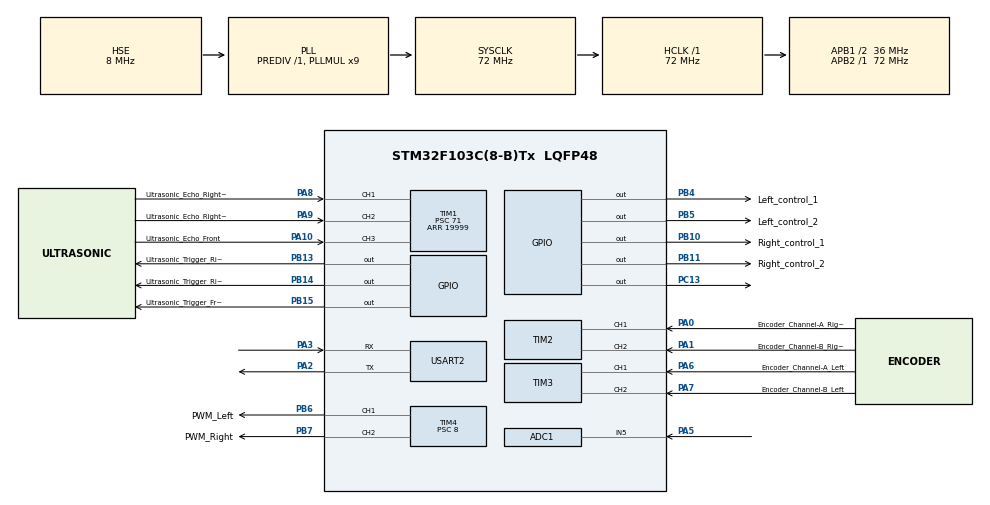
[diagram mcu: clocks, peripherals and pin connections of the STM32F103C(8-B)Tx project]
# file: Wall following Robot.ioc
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ADC1.Channel-0\#ChannelRegularConversion=ADC_CHANNEL_5
ADC1.NbrOfConversionFlag=1
ADC1.Rank-0\#ChannelRegularConversion=1
ADC1.SamplingTime-0\#ChannelRegularConversion=ADC_SAMPLETIME_1CYCLE_5
ADC1.master=1
Dma.MEMTOMEM.1.Direction=DMA_MEMORY_TO_MEMORY
Dma.MEMTOMEM.1.Instance=DMA1_Channel1
Dma.MEMTOMEM.1.MemDataAlignment=DMA_MDATAALIGN_HALFWORD
Dma.MEMTOMEM.1.MemInc=DMA_MINC_ENABLE
Dma.MEMTOMEM.1.Mode=DMA_NORMAL
Dma.MEMTOMEM.1.PeriphDataAlignment=DMA_PDATAALIGN_HALFWORD
Dma.MEMTOMEM.1.PeriphInc=DMA_PINC_ENABLE
Dma.MEMTOMEM.1.Priority=DMA_PRIORITY_LOW
Dma.Request0=USART2_TX
Dma.Request1=MEMTOMEM
Dma.USART2_TX.0.Direction=DMA_MEMORY_TO_PERIPH
Dma.USART2_TX.0.Instance=DMA1_Channel7
Dma.USART2_TX.0.MemDataAlignment=DMA_MDATAALIGN_WORD
Dma.USART2_TX.0.MemInc=DMA_MINC_ENABLE
Dma.USART2_TX.0.Mode=DMA_NORMAL
Dma.USART2_TX.0.PeriphDataAlignment=DMA_PDATAALIGN_WORD
Dma.USART2_TX.0.PeriphInc=DMA_PINC_DISABLE
Dma.USART2_TX.0.Priority=DMA_PRIORITY_LOW
IWDG.Prescaler=IWDG_PRESCALER_256
IWDG.Reload=150
Mcu.Family=STM32F1
Mcu.Name=STM32F103C(8-B)Tx
Mcu.Package=LQFP48
NVIC.DMA1_Channel7_IRQn=true\:0\:0\:false\:false\:true\:false\:true\:true
NVIC.PriorityGroup=NVIC_PRIORITYGROUP_4
NVIC.TIM1_CC_IRQn=true\:1\:0\:true\:false\:true\:true\:true\:true
NVIC.TIM1_UP_IRQn=true\:0\:0\:true\:false\:true\:true\:true\:true
NVIC.TIM2_IRQn=true\:1\:0\:true\:false\:true\:true\:true\:true
NVIC.TIM3_IRQn=true\:1\:0\:true\:false\:true\:true\:true\:true
PA0-WKUP.GPIO_Label=Encoder_Channel-A_Right
PA0-WKUP.GPIO_PuPd=GPIO_PULLUP
PA0-WKUP.Signal=S_TIM2_CH1_ETR
PA1.GPIO_Label=Encoder_Channel-B_Right
PA1.GPIO_PuPd=GPIO_PULLUP
PA1.Signal=S_TIM2_CH2
PA10.GPIO_Label=Ultrasonic_Echo_Front
PA10.Signal=S_TIM1_CH3
PA13.Mode=Serial_Wire
PA13.Signal=SYS_JTMS-SWDIO
PA14.Mode=Serial_Wire
PA14.Signal=SYS_JTCK-SWCLK
PA2.Mode=Asynchronous
PA2.Signal=USART2_TX
PA3.Mode=Asynchronous
PA3.Signal=USART2_RX
PA5.Signal=ADCx_IN5
PA6.GPIO_Label=Encoder_Channel-A_Left
PA6.GPIO_PuPd=GPIO_PULLUP
PA6.Signal=S_TIM3_CH1
PA7.GPIO_Label=Encoder_Channel-B_Left
PA7.GPIO_PuPd=GPIO_PULLUP
PA7.Signal=S_TIM3_CH2
PA8.GPIO_Label=Ultrasonic_Echo_RightBack
PA8.Signal=S_TIM1_CH1
PA9.GPIO_Label=Ultrasonic_Echo_RightFront
PA9.Signal=S_TIM1_CH2
PB10.GPIO_Label=Right_control_1
PB10.Signal=GPIO_Output
PB11.GPIO_Label=Right_control_2
PB11.Signal=GPIO_Output
PB13.GPIO_Label=Ultrasonic_Trigger_RightBack
PB13.Signal=GPIO_Output
PB14.GPIO_Label=Ultrasonic_Trigger_RightFront
PB14.Signal=GPIO_Output
PB15.GPIO_Label=Ultrasonic_Trigger_Front
PB15.Signal=GPIO_Output
PB4.GPIO_Label=Left_control_1
PB4.Signal=GPIO_Output
PB5.GPIO_Label=Left_control_2
PB5.Signal=GPIO_Output
PB6.GPIO_Label=PWM_Left
PB6.Signal=S_TIM4_CH1
PB7.GPIO_Label=PWM_Right
PB7.Signal=S_TIM4_CH2
PC13-TAMPER-RTC.GPIO_Speed=GPIO_SPEED_FREQ_HIGH
PC13-TAMPER-RTC.PinState=GPIO_PIN_SET
PC13-TAMPER-RTC.Signal=GPIO_Output
PD0-OSC_IN.Mode=HSE-External-Oscillator
PD0-OSC_IN.Signal=RCC_OSC_IN
PD1-OSC_OUT.Mode=HSE-External-Oscillator
PD1-OSC_OUT.Signal=RCC_OSC_OUT
ProjectManager.HeapSize=0x200
ProjectManager.StackSize=0x400
ProjectManager.TargetToolchain=MDK-ARM V5.32
RCC.ADCPresc=RCC_ADCPCLK2_DIV6
RCC.AHBFreq_Value=72000000
RCC.APB1CLKDivider=RCC_HCLK_DIV2
RCC.APB1Freq_Value=36000000
RCC.APB1TimFreq_Value=72000000
RCC.APB2Freq_Value=72000000
RCC.APB2TimFreq_Value=72000000
RCC.HCLKFreq_Value=72000000
RCC.PLLMUL=RCC_PLL_MUL9
RCC.PLLSourceVirtual=RCC_PLLSOURCE_HSE
RCC.SYSCLKFreq_VALUE=72000000
RCC.SYSCLKSource=RCC_SYSCLKSOURCE_PLLCLK
RCC.USBFreq_Value=72000000
SH.ADCx_IN5.0=ADC1_IN5,IN5
SH.S_TIM1_CH1.0=TIM1_CH1,Input_Capture1_from_TI1
SH.S_TIM1_CH2.0=TIM1_CH2,Input_Capture2_from_TI2
SH.S_TIM1_CH3.0=TIM1_CH3,Input_Capture3_from_TI3
SH.S_TIM2_CH1_ETR.0=TIM2_CH1,Encoder_Interface
SH.S_TIM2_CH2.0=TIM2_CH2,Encoder_Interface
SH.S_TIM3_CH1.0=TIM3_CH1,Encoder_Interface
SH.S_TIM3_CH2.0=TIM3_CH2,Encoder_Interface
SH.S_TIM4_CH1.0=TIM4_CH1,PWM Generation1 CH1
SH.S_TIM4_CH2.0=TIM4_CH2,PWM Generation2 CH2
TIM1.Channel-Input_Capture1_from_TI1=TIM_CHANNEL_1
TIM1.Channel-Input_Capture2_from_TI2=TIM_CHANNEL_2
TIM1.Channel-Input_Capture3_from_TI3=TIM_CHANNEL_3
TIM1.Period=19999
TIM1.Prescaler=71
TIM2.EncoderMode=TIM_ENCODERMODE_TI12
TIM3.EncoderMode=TIM_ENCODERMODE_TI12
TIM4.Channel-PWM\ Generation1\ CH1=TIM_CHANNEL_1
TIM4.Channel-PWM\ Generation2\ CH2=TIM_CHANNEL_2
TIM4.Period=399
TIM4.Prescaler=8
USART2.VirtualMode=VM_ASYNC
VP_IWDG_VS_IWDG.Mode=IWDG_Activate
board=custom

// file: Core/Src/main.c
/* USER CODE BEGIN Header */
/**
  ******************************************************************************
  * @file           : main.c
  * @brief          : Main program body
  ******************************************************************************
  * @attention
  *
  * Copyright (c) 2024 STMicroelectronics.
  * All rights reserved.
  *
  * This software is licensed under terms that can be found in the LICENSE file
  * in the root directory of this software component.
  * If no LICENSE file comes with this software, it is provided AS-IS.
  *
  ******************************************************************************
  */
/* USER CODE END Header */
#include "main.h"

/* USER CODE BEGIN Includes */
#include "encoder.h"
#include "takesample.h"
#include "exfunction.h"
#include "ultrasonic.h"
#include "pid.h"
#include "pwm.h"
#include "controlmotor.h"
#include "testprogram00.h"

#include <math.h>
#include <stdint.h>
#include <string.h>
/* USER CODE END Includes */

ADC_HandleTypeDef hadc1;

IWDG_HandleTypeDef hiwdg;

TIM_HandleTypeDef htim1;
TIM_HandleTypeDef htim2;
TIM_HandleTypeDef htim3;
TIM_HandleTypeDef htim4;

UART_HandleTypeDef huart2;
DMA_HandleTypeDef hdma_usart2_tx;

DMA_HandleTypeDef hdma_memtomem_dma1_channel1;
/* USER CODE BEGIN PV */

// General Flag/Variable
volatile uint8_t Sample_flag = 0;
volatile uint8_t Sample_enc_flag = 0;

volatile const float Sample_time_ms = 20;
float const PI = 3.14159265359;
uint16_t test = 0;
// ---------------------------------------------------------------------------------

// Ultrasonic Variable
uint32_t InCapFR_01 = 0;
uint32_t InCapFR_02 = 0;
uint32_t InCapRFR_01 = 0;
uint32_t InCapRFR_02 = 0;
uint32_t InCapRBR_01 = 0;
uint32_t InCapRBR_02 = 0;

uint32_t diff_f = 0;
uint32_t diff_rf = 0;
uint32_t diff_rb = 0;
uint8_t IsFirstCap = 0;

float Front_dis = 0;
float RightFront_dis = 0;
float RightBack_dis = 0;

volatile uint8_t F_done = 0;
volatile uint8_t RF_done = 0;
volatile uint8_t RB_done = 0;

float theta = 0;
float dis = 0;
float omega = 0;

volatile uint8_t Front_close = 0;
volatile uint8_t Front_distant = 0;
volatile uint8_t Turn_Left = 0;

volatile uint8_t Turn_Right_RF = 0;
volatile uint8_t Turn_Right_RB = 0;
volatile uint8_t Turn_Right = 0;

// ---------------------------------------------------------------------------------

// Encoder Variable
volatile uint8_t isChange_R = 0;
volatile uint8_t isChange_L = 0;

volatile uint16_t pre_encR_cnt = 0;
volatile float preR = 0;
volatile uint16_t encR_cnt_PA0_PA1 = 0;
volatile uint16_t encR_cnt = 0;
volatile int16_t encR_cnt_0 = 0;
volatile int16_t encR_cnt_1 = 0;

volatile uint16_t pre_encL_cnt = 0;
volatile uint16_t encL_cnt_PA6_PA7 = 0;
volatile uint16_t encL_cnt = 0;
volatile int16_t encL_cnt_0 = 0;
volatile int16_t encL_cnt_1 = 0;

volatile float omegaR = 0;
volatile float omegaL = 0;
float rpmR = 0;
float rpmL = 0;
float rpsR = 0;
float rpsL = 0;

volatile float omegaR_SP = 0;
volatile float omegaL_SP = 0;
// ---------------------------------------------------------------------------------

// Right Motor PID Variable
float Kp_R = 40;
float Ki_R = 80;
float Kd_R = 0.3;
/*
Ngon:	50	40	0

*/
float uk_R = 0;
float uk_1_R = 0;
float ek_R = 0;
float ek_1_R = 0;
float ek_2_R = 0;

float const umax_R = 399;
float const umin_R = -399;
float PID_R = 0;
// ---------------------------------------------------------------------------------

// Left Motor PID Variable
float Kp_L = 40;
float Ki_L = 80;
float Kd_L = 0.3;

float uk_L = 0;
float uk_1_L = 0;
float ek_L = 0;
float ek_1_L = 0;
float ek_2_L = 0;

float const umax_L = 399;
float const umin_L = -399;
float PID_L = 0;
// ---------------------------------------------------------------------------------

// Distance PID Variable
float distance_setpoint = 30;
float v_setpoint = 25;

float Kp_dis = 100;	// 100 25 0.75
float Ki_dis = 25;
float Kd_dis = 0.75;

float uk_dis = 0;
float uk_1_dis = 0;
float ek_dis = 0;
float ek_1_dis = 0;
float ek_2_dis = 0;

float const umax_dis = 400;
float const umin_dis = -400;
float PID_dis = 0;
// ---------------------------------------------------------------------------------

// Extern Variable
uint8_t omegaR_buff[sizeof(float)] = {0};
uint8_t omegaL_buff[sizeof(float)] = {0};

uint16_t pwm_setup01 = 0;
uint16_t pwm_setup02 = 0;

// ---------------------------------------------------------------------------------

/* USER CODE END PV */

void SystemClock_Config(void);
static void MX_GPIO_Init(void);
static void MX_DMA_Init(void);
static void MX_TIM1_Init(void);
static void MX_TIM2_Init(void);
static void MX_TIM3_Init(void);
static void MX_TIM4_Init(void);
static void MX_USART2_UART_Init(void);
static void MX_ADC1_Init(void);
static void MX_IWDG_Init(void);

/* USER CODE BEGIN 0 */

	void HAL_TIM_IC_CaptureCallback(TIM_HandleTypeDef *htim)
	{
		// Ultrasonic
		if(htim->Instance == TIM1)
		{
//			test0 = 2603;
			// TIMER 1, CHANNEL 1 - Ultrasonic RigtBack
			if(htim->Channel == HAL_TIM_ACTIVE_CHANNEL_1)
			{
				if(IsFirstCap == 0)
				{
					InCapRBR_01 = HAL_TIM_ReadCapturedValue(htim, TIM_CHANNEL_1); // read the first value
					IsFirstCap = 1; // set the first captured as true
					// Now change the plarity to falling edge
					__HAL_TIM_SET_CAPTUREPOLARITY(htim, TIM_CHANNEL_1, TIM_INPUTCHANNELPOLARITY_FALLING);
				}
				else if (IsFirstCap == 1) // if the first is already captured
				{
					InCapRBR_02 = HAL_TIM_ReadCapturedValue(htim, TIM_CHANNEL_1); // read second value
//					__HAL_TIM_SET_COUNTER(htim,0); // reset the counter

					if(InCapRBR_02 > InCapRBR_01)
					{
						diff_rb = InCapRBR_02 - InCapRBR_01;
					}
					else if (InCapRBR_01 > InCapRBR_02)
					{
						diff_rb = (19999 - InCapRBR_01) + InCapRBR_02;
					}
					RightBack_dis = roundf((diff_rb * 0.017)*10)/10 + 0.25;
					IsFirstCap = 0; // set it back to false

					// set polarity to rising edge
					__HAL_TIM_SET_CAPTUREPOLARITY(htim, TIM_CHANNEL_1, TIM_INPUTCHANNELPOLARITY_RISING);
					__HAL_TIM_DISABLE_IT(&htim1, TIM_IT_CC1);
					RB_done = 1;
				}
			}
			// TIMER 1, CHANNEL 2 - Ultrasonic RightFront
			else if(htim->Channel == HAL_TIM_ACTIVE_CHANNEL_2)
			{
				if(IsFirstCap == 0)
				{
					InCapRFR_01 = HAL_TIM_ReadCapturedValue(htim, TIM_CHANNEL_2); // read the first value
					IsFirstCap = 1; // set the first captured as true
					// Now change the plarity to falling edge
					__HAL_TIM_SET_CAPTUREPOLARITY(htim, TIM_CHANNEL_2, TIM_INPUTCHANNELPOLARITY_FALLING);
				}
				else if (IsFirstCap == 1) // if the first is already captured
				{
					InCapRFR_02 = HAL_TIM_ReadCapturedValue(htim, TIM_CHANNEL_2); // read second value
//					__HAL_TIM_SET_COUNTER(htim,0); // reset the counter

					if(InCapRFR_02 > InCapRFR_01)
					{
						diff_rf = InCapRFR_02 - InCapRFR_01;
					}
					else if (InCapRFR_01 > InCapRFR_02)
					{
						diff_rf = (19999 - InCapRFR_01) + InCapRFR_02;
					}
					RightFront_dis = roundf((diff_rf * 0.017)*10)/10 - 0.25;
					IsFirstCap = 0; // set it back to false

					// set polarity to rising edge
					__HAL_TIM_SET_CAPTUREPOLARITY(htim, TIM_CHANNEL_2, TIM_INPUTCHANNELPOLARITY_RISING);
					__HAL_TIM_DISABLE_IT(&htim1, TIM_IT_CC2);
					RF_done = 1;
				}
			}
			// TIMER 1, CHANNEL 3 - Ultrasonic Front
			else if(htim->Channel == HAL_TIM_ACTIVE_CHANNEL_3)
			{
				if(IsFirstCap == 0)
				{
					InCapFR_01 = HAL_TIM_ReadCapturedValue(htim, TIM_CHANNEL_3); // read the first value
					IsFirstCap = 1; // set the first captured as true
					// Now change the plarity to falling edge
					__HAL_TIM_SET_CAPTUREPOLARITY(htim, TIM_CHANNEL_3, TIM_INPUTCHANNELPOLARITY_FALLING);
				}
				else if (IsFirstCap == 1) // if the first is already captured
				{
					InCapFR_02 = HAL_TIM_ReadCapturedValue(htim, TIM_CHANNEL_3); // read second value
//					__HAL_TIM_SET_COUNTER(htim,0); // reset the counter

					if(InCapFR_02 > InCapFR_01)
					{
						diff_f = InCapFR_02 - InCapFR_01;
					}
					else if (InCapFR_01 > InCapFR_02)
					{
						diff_f = (19999 - InCapFR_01) + InCapFR_02;
					}
					Front_dis = roundf((diff_f * 0.017)*10)/10;
					IsFirstCap = 0; // set it back to false

					// set polarity to rising edge
					__HAL_TIM_SET_CAPTUREPOLARITY(htim, TIM_CHANNEL_3, TIM_INPUTCHANNELPOLARITY_RISING);
					__HAL_TIM_DISABLE_IT(&htim1, TIM_IT_CC3);
					F_done = 1;
				}
			}
		}
		// Encoder
		else if (htim->Instance == TIM2)
		{
			encR_cnt = (__HAL_TIM_GET_COUNTER(htim));
//			encL_cnt = (__HAL_TIM_GET_COUNTER(&htim3));

			isChange_R = 1;
		}
		else if (htim->Instance == TIM3)
		{
//			encL_cnt = (__HAL_TIM_GET_COUNTER(htim));
			isChange_L = 1;
		}
	}

	void HAL_TIM_PeriodElapsedCallback(TIM_HandleTypeDef *htim)
{
	if(htim->Instance == htim1.Instance)
	{
		Encoder_processing_ver1();
//
		PID_R = PID_R_control(omegaR_SP, omegaR);
		PID_L = PID_L_control(omegaL_SP, omegaL);
////
//		PID_R = PID_R_control(5, omegaR);
//		PID_L = PID_L_control(6, omegaL);

//		SendToMATLAB_omegaR();
////
		PIDtoPWM_R_ver1(PID_R);
		PIDtoPWM_L_ver1(PID_L);

		//HAL_IWDG_Refresh(&hiwdg);

	}
}
/* USER CODE END 0 */

int main(void)
{

  /* MCU Configuration--------------------------------------------------------*/

  /* Reset of all peripherals, Initializes the Flash interface and the Systick. */
  HAL_Init();

  /* Configure the system clock */
  SystemClock_Config();

  /* Initialize all configured peripherals */
  MX_GPIO_Init();
  MX_DMA_Init();
  MX_TIM1_Init();
  MX_TIM2_Init();
  MX_TIM3_Init();
  MX_TIM4_Init();
  MX_USART2_UART_Init();
  MX_ADC1_Init();
  MX_IWDG_Init();
  /* USER CODE BEGIN 2 */

	__HAL_TIM_SET_COUNTER(&htim2, 0x8000);
	__HAL_TIM_SET_COUNTER(&htim3, 0x8000);

	HAL_TIM_Base_Start_IT(&htim1);
	__HAL_TIM_ENABLE_IT(&htim1, TIM_IT_UPDATE);

	HAL_TIM_IC_Start_IT(&htim1, TIM_CHANNEL_1);
	HAL_TIM_IC_Start_IT(&htim1, TIM_CHANNEL_2);
	HAL_TIM_IC_Start_IT(&htim1, TIM_CHANNEL_3);

	HAL_TIM_Encoder_Start_IT(&htim2, TIM_CHANNEL_ALL);
	HAL_TIM_Encoder_Start_IT(&htim3, TIM_CHANNEL_ALL);

	HAL_TIM_PWM_Start(&htim4, TIM_CHANNEL_1);
	HAL_TIM_PWM_Start(&htim4, TIM_CHANNEL_2);

	HAL_GPIO_WritePin(GPIOC, GPIO_PIN_13, GPIO_PIN_RESET);

//	pwm_setup01 = 325;
//	setup01();

//	pwm_setup02 = 0;
//	setup02();

//	setup00();
//	HAL_Delay(500);

  /* USER CODE END 2 */

  /* Infinite loop */
  /* USER CODE BEGIN WHILE */
  while (1)
  {
//		setup01();
//		setup02();

//		test_enc_R(); //dem counter
//		test_enc_L();

//		sample_enc_ver0();
//		sample_enc_ver1();
//		sample_enc_ver2();
//		sample_enc_ver3();

//		sample_speedctrl_ver2();

//		sample_all_ver0();
//		sample_all_ver1();
//		sample_all_ver2();
//		sample_all_ver3();
		sample_all_ver4();

    /* USER CODE END WHILE */

  }
}

void SystemClock_Config(void)
{
  RCC_OscInitTypeDef RCC_OscInitStruct = {0};
  RCC_ClkInitTypeDef RCC_ClkInitStruct = {0};
  RCC_PeriphCLKInitTypeDef PeriphClkInit = {0};

  /** Initializes the RCC Oscillators according to the specified parameters
  * in the RCC_OscInitTypeDef structure.
  */
  RCC_OscInitStruct.OscillatorType = RCC_OSCILLATORTYPE_LSI|RCC_OSCILLATORTYPE_HSE;
  RCC_OscInitStruct.HSEState = RCC_HSE_ON;
  RCC_OscInitStruct.HSEPredivValue = RCC_HSE_PREDIV_DIV1;
  RCC_OscInitStruct.HSIState = RCC_HSI_ON;
  RCC_OscInitStruct.LSIState = RCC_LSI_ON;
  RCC_OscInitStruct.PLL.PLLState = RCC_PLL_ON;
  RCC_OscInitStruct.PLL.PLLSource = RCC_PLLSOURCE_HSE;
  RCC_OscInitStruct.PLL.PLLMUL = RCC_PLL_MUL9;
  if (HAL_RCC_OscConfig(&RCC_OscInitStruct) != HAL_OK)
  {
    Error_Handler();
  }

  /** Initializes the CPU, AHB and APB buses clocks
  */
  RCC_ClkInitStruct.ClockType = RCC_CLOCKTYPE_HCLK|RCC_CLOCKTYPE_SYSCLK
                              |RCC_CLOCKTYPE_PCLK1|RCC_CLOCKTYPE_PCLK2;
  RCC_ClkInitStruct.SYSCLKSource = RCC_SYSCLKSOURCE_PLLCLK;
  RCC_ClkInitStruct.AHBCLKDivider = RCC_SYSCLK_DIV1;
  RCC_ClkInitStruct.APB1CLKDivider = RCC_HCLK_DIV2;
  RCC_ClkInitStruct.APB2CLKDivider = RCC_HCLK_DIV1;

  if (HAL_RCC_ClockConfig(&RCC_ClkInitStruct, FLASH_LATENCY_2) != HAL_OK)
  {
    Error_Handler();
  }
  PeriphClkInit.PeriphClockSelection = RCC_PERIPHCLK_ADC;
  PeriphClkInit.AdcClockSelection = RCC_ADCPCLK2_DIV6;
  if (HAL_RCCEx_PeriphCLKConfig(&PeriphClkInit) != HAL_OK)
  {
    Error_Handler();
  }
}

static void MX_ADC1_Init(void)
{

  ADC_ChannelConfTypeDef sConfig = {0};

  /** Common config
  */
  hadc1.Instance = ADC1;
  hadc1.Init.ScanConvMode = ADC_SCAN_DISABLE;
  hadc1.Init.ContinuousConvMode = DISABLE;
  hadc1.Init.DiscontinuousConvMode = DISABLE;
  hadc1.Init.ExternalTrigConv = ADC_SOFTWARE_START;
  hadc1.Init.DataAlign = ADC_DATAALIGN_RIGHT;
  hadc1.Init.NbrOfConversion = 1;
  if (HAL_ADC_Init(&hadc1) != HAL_OK)
  {
    Error_Handler();
  }

  /** Configure Regular Channel
  */
  sConfig.Channel = ADC_CHANNEL_5;
  sConfig.Rank = ADC_REGULAR_RANK_1;
  sConfig.SamplingTime = ADC_SAMPLETIME_1CYCLE_5;
  if (HAL_ADC_ConfigChannel(&hadc1, &sConfig) != HAL_OK)
  {
    Error_Handler();
  }

}

static void MX_IWDG_Init(void)
{

  hiwdg.Instance = IWDG;
  hiwdg.Init.Prescaler = IWDG_PRESCALER_256;
  hiwdg.Init.Reload = 150;
  if (HAL_IWDG_Init(&hiwdg) != HAL_OK)
  {
    Error_Handler();
  }

}

static void MX_TIM1_Init(void)
{

  TIM_MasterConfigTypeDef sMasterConfig = {0};
  TIM_IC_InitTypeDef sConfigIC = {0};

  htim1.Instance = TIM1;
  htim1.Init.Prescaler = 71;
  htim1.Init.CounterMode = TIM_COUNTERMODE_UP;
  htim1.Init.Period = 19999;
  htim1.Init.ClockDivision = TIM_CLOCKDIVISION_DIV1;
  htim1.Init.RepetitionCounter = 0;
  htim1.Init.AutoReloadPreload = TIM_AUTORELOAD_PRELOAD_DISABLE;
  if (HAL_TIM_IC_Init(&htim1) != HAL_OK)
  {
    Error_Handler();
  }
  sMasterConfig.MasterOutputTrigger = TIM_TRGO_RESET;
  sMasterConfig.MasterSlaveMode = TIM_MASTERSLAVEMODE_DISABLE;
  if (HAL_TIMEx_MasterConfigSynchronization(&htim1, &sMasterConfig) != HAL_OK)
  {
    Error_Handler();
  }
  sConfigIC.ICPolarity = TIM_INPUTCHANNELPOLARITY_RISING;
  sConfigIC.ICSelection = TIM_ICSELECTION_DIRECTTI;
  sConfigIC.ICPrescaler = TIM_ICPSC_DIV1;
  sConfigIC.ICFilter = 0;
  if (HAL_TIM_IC_ConfigChannel(&htim1, &sConfigIC, TIM_CHANNEL_1) != HAL_OK)
  {
    Error_Handler();
  }
  if (HAL_TIM_IC_ConfigChannel(&htim1, &sConfigIC, TIM_CHANNEL_2) != HAL_OK)
  {
    Error_Handler();
  }
  if (HAL_TIM_IC_ConfigChannel(&htim1, &sConfigIC, TIM_CHANNEL_3) != HAL_OK)
  {
    Error_Handler();
  }

}

static void MX_TIM2_Init(void)
{

  TIM_Encoder_InitTypeDef sConfig = {0};
  TIM_MasterConfigTypeDef sMasterConfig = {0};

  htim2.Instance = TIM2;
  htim2.Init.Prescaler = 0;
  htim2.Init.CounterMode = TIM_COUNTERMODE_UP;
  htim2.Init.Period = 65535;
  htim2.Init.ClockDivision = TIM_CLOCKDIVISION_DIV1;
  htim2.Init.AutoReloadPreload = TIM_AUTORELOAD_PRELOAD_DISABLE;
  sConfig.EncoderMode = TIM_ENCODERMODE_TI12;
  sConfig.IC1Polarity = TIM_ICPOLARITY_RISING;
  sConfig.IC1Selection = TIM_ICSELECTION_DIRECTTI;
  sConfig.IC1Prescaler = TIM_ICPSC_DIV1;
  sConfig.IC1Filter = 0;
  sConfig.IC2Polarity = TIM_ICPOLARITY_RISING;
  sConfig.IC2Selection = TIM_ICSELECTION_DIRECTTI;
  sConfig.IC2Prescaler = TIM_ICPSC_DIV1;
  sConfig.IC2Filter = 0;
  if (HAL_TIM_Encoder_Init(&htim2, &sConfig) != HAL_OK)
  {
    Error_Handler();
  }
  sMasterConfig.MasterOutputTrigger = TIM_TRGO_RESET;
  sMasterConfig.MasterSlaveMode = TIM_MASTERSLAVEMODE_DISABLE;
  if (HAL_TIMEx_MasterConfigSynchronization(&htim2, &sMasterConfig) != HAL_OK)
  {
    Error_Handler();
  }

}

static void MX_TIM3_Init(void)
{

  TIM_Encoder_InitTypeDef sConfig = {0};
  TIM_MasterConfigTypeDef sMasterConfig = {0};

  htim3.Instance = TIM3;
  htim3.Init.Prescaler = 0;
  htim3.Init.CounterMode = TIM_COUNTERMODE_UP;
  htim3.Init.Period = 65535;
  htim3.Init.ClockDivision = TIM_CLOCKDIVISION_DIV1;
  htim3.Init.AutoReloadPreload = TIM_AUTORELOAD_PRELOAD_DISABLE;
  sConfig.EncoderMode = TIM_ENCODERMODE_TI12;
  sConfig.IC1Polarity = TIM_ICPOLARITY_RISING;
  sConfig.IC1Selection = TIM_ICSELECTION_DIRECTTI;
  sConfig.IC1Prescaler = TIM_ICPSC_DIV1;
  sConfig.IC1Filter = 0;
  sConfig.IC2Polarity = TIM_ICPOLARITY_RISING;
  sConfig.IC2Selection = TIM_ICSELECTION_DIRECTTI;
  sConfig.IC2Prescaler = TIM_ICPSC_DIV1;
  sConfig.IC2Filter = 0;
  if (HAL_TIM_Encoder_Init(&htim3, &sConfig) != HAL_OK)
  {
    Error_Handler();
  }
  sMasterConfig.MasterOutputTrigger = TIM_TRGO_RESET;
  sMasterConfig.MasterSlaveMode = TIM_MASTERSLAVEMODE_DISABLE;
  if (HAL_TIMEx_MasterConfigSynchronization(&htim3, &sMasterConfig) != HAL_OK)
  {
    Error_Handler();
  }

}

static void MX_TIM4_Init(void)
{

  TIM_MasterConfigTypeDef sMasterConfig = {0};
  TIM_OC_InitTypeDef sConfigOC = {0};

  htim4.Instance = TIM4;
  htim4.Init.Prescaler = 8;
  htim4.Init.CounterMode = TIM_COUNTERMODE_UP;
  htim4.Init.Period = 399;
  htim4.Init.ClockDivision = TIM_CLOCKDIVISION_DIV1;
  htim4.Init.AutoReloadPreload = TIM_AUTORELOAD_PRELOAD_DISABLE;
  if (HAL_TIM_PWM_Init(&htim4) != HAL_OK)
  {
    Error_Handler();
  }
  sMasterConfig.MasterOutputTrigger = TIM_TRGO_RESET;
  sMasterConfig.MasterSlaveMode = TIM_MASTERSLAVEMODE_DISABLE;
  if (HAL_TIMEx_MasterConfigSynchronization(&htim4, &sMasterConfig) != HAL_OK)
  {
    Error_Handler();
  }
  sConfigOC.OCMode = TIM_OCMODE_PWM1;
  sConfigOC.Pulse = 0;
  sConfigOC.OCPolarity = TIM_OCPOLARITY_HIGH;
  sConfigOC.OCFastMode = TIM_OCFAST_DISABLE;
  if (HAL_TIM_PWM_ConfigChannel(&htim4, &sConfigOC, TIM_CHANNEL_1) != HAL_OK)
  {
    Error_Handler();
  }
  if (HAL_TIM_PWM_ConfigChannel(&htim4, &sConfigOC, TIM_CHANNEL_2) != HAL_OK)
  {
    Error_Handler();
  }
  HAL_TIM_MspPostInit(&htim4);

}

static void MX_USART2_UART_Init(void)
{

  huart2.Instance = USART2;
  huart2.Init.BaudRate = 115200;
  huart2.Init.WordLength = UART_WORDLENGTH_8B;
  huart2.Init.StopBits = UART_STOPBITS_1;
  huart2.Init.Parity = UART_PARITY_NONE;
  huart2.Init.Mode = UART_MODE_TX_RX;
  huart2.Init.HwFlowCtl = UART_HWCONTROL_NONE;
  huart2.Init.OverSampling = UART_OVERSAMPLING_16;
  if (HAL_UART_Init(&huart2) != HAL_OK)
  {
    Error_Handler();
  }

}

static void MX_DMA_Init(void)
{

  /* DMA controller clock enable */
  __HAL_RCC_DMA1_CLK_ENABLE();

  /* Configure DMA request hdma_memtomem_dma1_channel1 on DMA1_Channel1 */
  hdma_memtomem_dma1_channel1.Instance = DMA1_Channel1;
  hdma_memtomem_dma1_channel1.Init.Direction = DMA_MEMORY_TO_MEMORY;
  hdma_memtomem_dma1_channel1.Init.PeriphInc = DMA_PINC_ENABLE;
  hdma_memtomem_dma1_channel1.Init.MemInc = DMA_MINC_ENABLE;
  hdma_memtomem_dma1_channel1.Init.PeriphDataAlignment = DMA_PDATAALIGN_HALFWORD;
  hdma_memtomem_dma1_channel1.Init.MemDataAlignment = DMA_MDATAALIGN_HALFWORD;
  hdma_memtomem_dma1_channel1.Init.Mode = DMA_NORMAL;
  hdma_memtomem_dma1_channel1.Init.Priority = DMA_PRIORITY_LOW;
  if (HAL_DMA_Init(&hdma_memtomem_dma1_channel1) != HAL_OK)
  {
    Error_Handler( );
  }

  /* DMA interrupt init */
  /* DMA1_Channel7_IRQn interrupt configuration */
  HAL_NVIC_SetPriority(DMA1_Channel7_IRQn, 0, 0);
  HAL_NVIC_EnableIRQ(DMA1_Channel7_IRQn);

}

static void MX_GPIO_Init(void)
{
  GPIO_InitTypeDef GPIO_InitStruct = {0};

  /* GPIO Ports Clock Enable */
  __HAL_RCC_GPIOC_CLK_ENABLE();
  __HAL_RCC_GPIOD_CLK_ENABLE();
  __HAL_RCC_GPIOA_CLK_ENABLE();
  __HAL_RCC_GPIOB_CLK_ENABLE();

  /*Configure GPIO pin Output Level */
  HAL_GPIO_WritePin(GPIOC, GPIO_PIN_13, GPIO_PIN_SET);

  /*Configure GPIO pin Output Level */
  HAL_GPIO_WritePin(GPIOB, Right_control_1_Pin|Right_control_2_Pin|Ultrasonic_Trigger_RightBack_Pin|Ultrasonic_Trigger_RightFront_Pin
                          |Ultrasonic_Trigger_Front_Pin|Left_control_1_Pin|Left_control_2_Pin, GPIO_PIN_RESET);

  /*Configure GPIO pin : PC13 */
  GPIO_InitStruct.Pin = GPIO_PIN_13;
  GPIO_InitStruct.Mode = GPIO_MODE_OUTPUT_PP;
  GPIO_InitStruct.Pull = GPIO_NOPULL;
  GPIO_InitStruct.Speed = GPIO_SPEED_FREQ_HIGH;
  HAL_GPIO_Init(GPIOC, &GPIO_InitStruct);

  /*Configure GPIO pins : Right_control_1_Pin Right_control_2_Pin Ultrasonic_Trigger_RightBack_Pin Ultrasonic_Trigger_RightFront_Pin
                           Ultrasonic_Trigger_Front_Pin Left_control_1_Pin Left_control_2_Pin */
  GPIO_InitStruct.Pin = Right_control_1_Pin|Right_control_2_Pin|Ultrasonic_Trigger_RightBack_Pin|Ultrasonic_Trigger_RightFront_Pin
                          |Ultrasonic_Trigger_Front_Pin|Left_control_1_Pin|Left_control_2_Pin;
  GPIO_InitStruct.Mode = GPIO_MODE_OUTPUT_PP;
  GPIO_InitStruct.Pull = GPIO_NOPULL;
  GPIO_InitStruct.Speed = GPIO_SPEED_FREQ_LOW;
  HAL_GPIO_Init(GPIOB, &GPIO_InitStruct);

}

void Error_Handler(void)
{
  __disable_irq();
  while (1)
  {
  }
}
